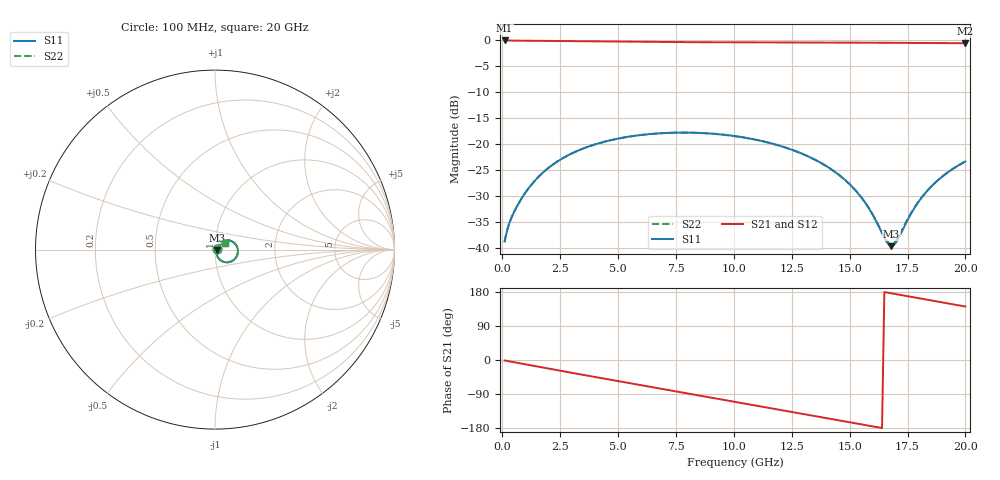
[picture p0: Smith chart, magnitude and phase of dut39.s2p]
! Touchstone file exported from HFSS 2026.1.0
!  File:  C:/ffzhzh/LocalFiles/Ansys_Project_Files/temp_train_TSV_RDL_39_1782965397_45748.aedt
!  Generated:  12:17:39 PM Jul  2, 2026
!  Design:  TSV_RDL
!  Project:  temp_train_TSV_RDL_39_1782965397_45748
! Variables:
!  h_bsmrdl = 5.6um
!  h_ox = 20um
!  h_rdl = 5um
!  h_sub = 68.1um
!  h_tmrdl = 4.83um
!  h_tsv = 68.1um
!  h_via = 3um
!  l_bsmrdl = 357.03um
!  l_sub = 3697.21um
!  l_tmrdl = 520.17um
!  m_sub = 200um
!  pitch = 36.15um
!  r_tsv = 12.69um
!  s_tmrdl = 10um
!  w_bsmrdl = 19.41um
!  w_sub = 500um
!  w_tmrdl = 29.07um
!  x_tsv_center1 = 534.705um
!  x_tsv_center2 = 911.145um
!  x_tsv_center3 = 1460.385um
!  x_tsv_center4 = 1836.825um
!  x_tsv_center5 = 2386.065um
!  x_tsv_center6 = 2762.505um
# GHz S MA R 50.000000
! Terminal data exported
! Port[1] = TM_RDL1_1_T1
! Port[2] = TM_RDL5_1_T1
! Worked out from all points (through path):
!   200 points, 100 MHz to 20 GHz, reference 50 ohm
!   highest |S21| = -0.09 dB at 100 MHz (marker M1); lowest = -0.6 dB at 20 GHz (marker M2)
!   group delay of S21, straight-line fit = 30.3 ps
!   lowest |S11| = -39.7 dB at 16.8 GHz (marker M3), VSWR 1.02, Z = 51 - j0.265 ohm
!   |S11| at or under -10 dB: start of sweep to end of sweep
!   |S22| runs from -39.3 to -17.8 dB; largest |S21 - S12| = 9.6e-14
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0.1  0.01147 23.4  0.9896 -1.2  0.9896 -1.2  0.01147 23.4
! Gamma 0 0 0 0
! Port Impedance 50 0 50 0
0.3  0.01719 37.8  0.987 -3.6  0.987 -3.6  0.01718 37.8
0.5  0.02188 43.9  0.9856 -5.8  0.9856 -5.8  0.02188 43.9
1.3  0.04152 51.5  0.9824 -14.8  0.9824 -14.8  0.04151 51.5
2.3  0.06585 46.2  0.9774 -26.0  0.9774 -26.0  0.06584 46.2
3.5  0.09034 35.2  0.9705 -39.3  0.9705 -39.3  0.09032 35.3
5.2  0.1146 18.4  0.9618 -57.9  0.9618 -57.9  0.1145 18.5
6.8  0.1264 2.4  0.9558 -75.2  0.9558 -75.2  0.1263 2.6
8.4  0.1277 -13.4  0.9517 -92.5  0.9517 -92.5  0.1277 -13.2
10.1  0.1183 -30.0  0.9489 -110.9  0.9489 -110.9  0.1182 -29.7
11.7  0.09998 -45.2  0.9471 -128.3  0.9471 -128.3  0.0999 -44.9
13.4  0.07229 -60.3  0.9453 -146.8  0.9453 -146.8  0.07224 -59.8
14.5  0.05107 -68.1  0.9439 -158.8  0.9439 -158.8  0.05105 -67.4
15.3  0.03474 -70.6  0.9426 -167.6  0.9426 -167.6  0.03479 -69.8
15.9  0.02262 -66.9  0.9415 -174.1  0.9415 -174.1  0.02275 -65.7
16.7  0.01063 -25.6  0.9399 177.1  0.9399 177.1  0.01104 -24.5
16.8  0.01035 -14.5  0.9396 176.0  0.9396 176.0  0.01078 -13.9
17  0.01118 6.8  0.9392 173.8  0.9392 173.8  0.0116 6.4
17.7  0.0222 39.6  0.9375 166.2  0.9375 166.2  0.02245 38.9
18.3  0.03421 43.7  0.9359 159.6  0.9359 159.6  0.03438 43.2
19.1  0.05036 41.2  0.9336 150.9  0.9336 150.9  0.05047 41.0
20  0.06764 35.2  0.931 141.1  0.931 141.1  0.06771 35.1
